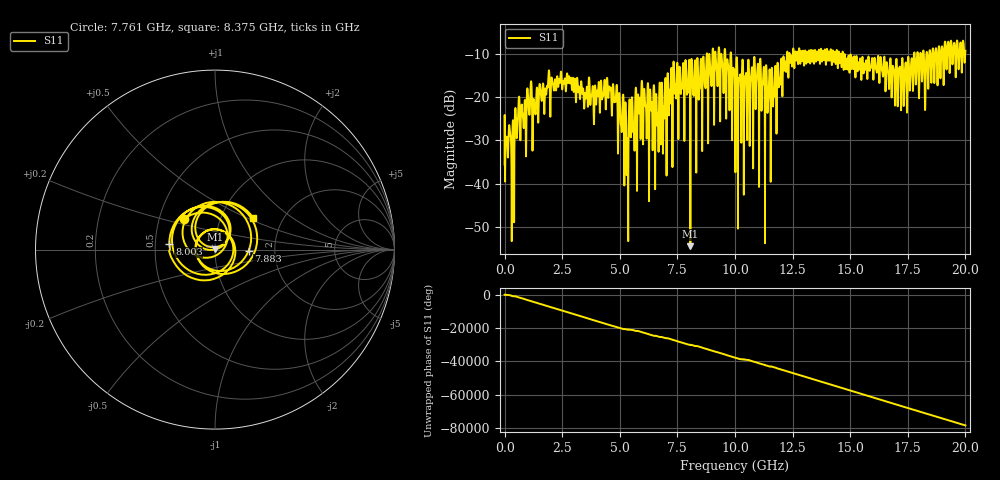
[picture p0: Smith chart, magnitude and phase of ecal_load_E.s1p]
! MS46122B
! 2250307/22442219
! 6/18/2025 7:47:44 AM
! C:\USERS\SPARKY\DOCUMENTS\VNA_DATA\JUNE18_2025\3.0K\ECAL_LOAD_E.S1P
! CHANNEL.1
! TR.MEASUREMENT
! RAW.DATA
# GHZ S RI R 50.0
! FREQ.GHZ  S11RE  S11IM
!; PortSelection: Port_1
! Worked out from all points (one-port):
!   10001 points, 1 MHz to 20 GHz, reference 50 ohm
!   lowest |S11| = -54.4 dB at 8.063 GHz (marker M1), VSWR 1.00, Z = 50.2 + j0.072 ohm
!   |S11| at or under -10 dB: start of sweep to 8.778 GHz; 9.828 GHz to 12.26 GHz (2.429 GHz wide, 22 % of centre); 14.69 GHz to 17.78 GHz (3.091 GHz wide, 19 % of centre) (the widest 3 of 51)
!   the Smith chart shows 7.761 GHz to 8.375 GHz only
!   S11 on the Smith chart (normalised r, x): 7.761 GHz: 0.67, +0.24; 7.883 GHz: 1.46, -0.02; 8.003 GHz: 0.59, +0.04; 8.375 GHz: 1.41, +0.54
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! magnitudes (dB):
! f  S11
! 1 MHz  -35.6
! 1.071 GHz  -24.0
! 1.283 GHz  -21.4
! 2.501 GHz  -18.3
! 3.803 GHz  -18.7
! 4.519 GHz  -18.8
! 5.001 GHz  -20.7
! 5.189 GHz  -30.8
! 5.285 GHz  -29.3
! 5.481 GHz  -28.9
! 5.665 GHz  -22.5
! 6.025 GHz  -23.8
! 6.609 GHz  -23.8
! 7.501 GHz  -12.2
! 7.761 GHz  -12.3
! 7.883 GHz  -14.5
! 8.003 GHz  -11.8
! 8.063 GHz  -54.4
! 8.375 GHz  -11.2
! 9.225 GHz  -15.2
! 10 GHz  -17.9
! 10.46 GHz  -15.2
! 10.91 GHz  -18.1
! 11.48 GHz  -15.9
! 12.5 GHz  -10.7
! 15 GHz  -11.0
! 17.5 GHz  -12.2
! 20 GHz  -9.4
